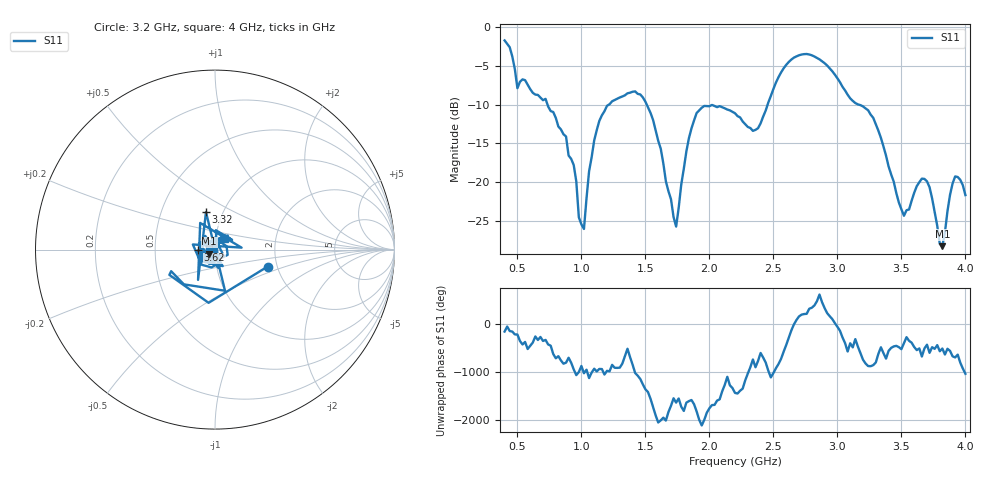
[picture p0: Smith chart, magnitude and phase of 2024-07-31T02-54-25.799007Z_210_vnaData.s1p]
!Created with skrf (http://scikit-rf.org).
# Hz S RI R 50.0
!freq ReS11 ImS11
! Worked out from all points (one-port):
!   181 points, 400 MHz to 4 GHz, reference 50 ohm
!   lowest |S11| = -28.2 dB at 3.82 GHz (marker M1), VSWR 1.08, Z = 46.9 - j2.12 ohm
!   |S11| at or under -10 dB: 734.9 MHz to 1.216 GHz (481 MHz wide, 49.3 % of centre); 1.51 GHz to 2.455 GHz (944.9 MHz wide, 47.7 % of centre); 3.165 GHz to end of sweep
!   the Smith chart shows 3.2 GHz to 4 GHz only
!   S11 on the Smith chart (normalised r, x): 3.2 GHz: 1.78, -0.37; 3.32 GHz: 0.83, +0.36; 3.62 GHz: 0.83, -0.01; 4 GHz: 1.11, +0.14
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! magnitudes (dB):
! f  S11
! 400 MHz  -1.8
! 500 MHz  -7.9
! 720 MHz  -9.3
! 860 MHz  -13.8
! 940 MHz  -17.8
! 980 MHz  -24.5
! 1.02 GHz  -26.0
! 1.06 GHz  -18.6
! 1.12 GHz  -13.3
! 1.3 GHz  -9.1
! 1.5 GHz  -9.6
! 1.74 GHz  -25.7
! 1.76 GHz  -23.3
! 1.9 GHz  -11.1
! 2.2 GHz  -11.1
! 2.38 GHz  -13.0
! 2.66 GHz  -4.0
! 2.86 GHz  -4.2
! 3.1 GHz  -9.2
! 3.2 GHz  -10.2
! 3.32 GHz  -13.3
! 3.5 GHz  -23.5
! 3.56 GHz  -23.5
! 3.62 GHz  -20.5
! 3.72 GHz  -20.6
! 3.82 GHz  -28.2
! 3.92 GHz  -19.2
! 4 GHz  -21.6
